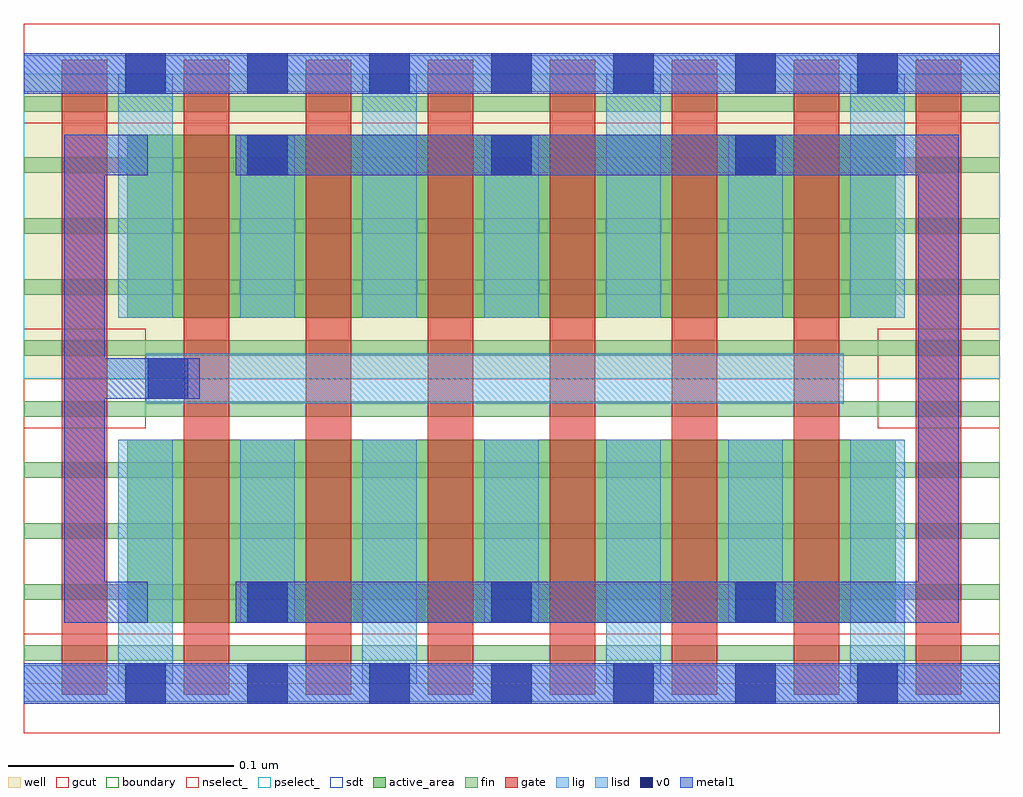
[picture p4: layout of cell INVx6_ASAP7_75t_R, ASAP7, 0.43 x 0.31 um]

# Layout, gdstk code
import gdstk
lib = gdstk.Library(unit=1e-6, precision=1e-09)
def R(c, l, rs):  # rectangles x0, y0, x1, y1
    for r in rs: c.add(gdstk.rectangle(r[:2], r[2:], *l))
def A(c, l, x, y, w, h, nx, ny, dx, dy):  # array of equal rectangles
    R(c, l, [(x+i*dx, y+j*dy, x+i*dx+w, y+j*dy+h) for i in range(nx) for j in range(ny)])
def P(c, l, *ps):  # polygons
    for p in ps: c.add(gdstk.Polygon(p, *l))
well = (1, 0)
fin = (2, 0)
gate = (7, 0)
gcut = (10, 0)
active_area = (11, 0)
nselect_ = (12, 0)
pselect_ = (13, 0)
lig = (16, 0)
lisd = (17, 0)
v0 = (18, 0)
metal1 = (19, 0)
sdt = (88, 0)
boundary = (100, 0)

invx6_asap7_75t_r = lib.new_cell('INVx6_ASAP7_75t_R')
R(invx6_asap7_75t_r, well, [(0,0.135,0.432,0.27)])
A(invx6_asap7_75t_r, fin, 0, 0.01, 0.432, 0.007, 1, 10, 0, 0.027)
A(invx6_asap7_75t_r, gate, 0.017, -0.005, 0.02, 0.281, 8, 1, 0.054, 0)
R(invx6_asap7_75t_r, gcut, [(0,-0.022,0.432,0.022), (0,0.113,0.054,0.157), (0.378,0.113,0.432,0.157), (0,0.248,0.432,0.292)])
R(invx6_asap7_75t_r, active_area, [(0.046,0.027,0.386,0.108), (0.046,0.162,0.386,0.243)])
R(invx6_asap7_75t_r, nselect_, [(0,0,0.432,0.135)])
R(invx6_asap7_75t_r, pselect_, [(0,0.135,0.432,0.27)])
R(invx6_asap7_75t_r, lig, [(0,-0.008,0.432,0.008), (0.054,0.124,0.363,0.146), (0,0.262,0.432,0.278)])
A(invx6_asap7_75t_r, lisd, 0.042, 0, 0.024, 0.108, 4, 2, 0.108, 0.162)
A(invx6_asap7_75t_r, lisd, 0.096, 0.027, 0.024, 0.081, 3, 2, 0.108, 0.135)
A(invx6_asap7_75t_r, v0, 0.045, -0.009, 0.018, 0.018, 7, 2, 0.054, 0.27)
A(invx6_asap7_75t_r, v0, 0.099, 0.027, 0.018, 0.018, 3, 2, 0.108, 0.198)
R(invx6_asap7_75t_r, v0, [(0.055,0.126,0.073,0.144)])
R(invx6_asap7_75t_r, metal1, [(0,-0.009,0.432,0.009), (0,0.261,0.432,0.279)])
P(invx6_asap7_75t_r, metal1, [(0.018,0.027),(0.018,0.243),(0.055,0.243),(0.055,0.225),(0.036,0.225),(0.036,0.144),(0.078,0.144),(0.078,0.126),(0.036,0.126),(0.036,0.045),(0.055,0.045),(0.055,0.027)],
  [(0.094,0.027),(0.094,0.045),(0.396,0.045),(0.396,0.225),(0.094,0.225),(0.094,0.243),(0.414,0.243),(0.414,0.027)])
A(invx6_asap7_75t_r, sdt, 0.042, 0.027, 0.024, 0.081, 7, 2, 0.054, 0.135)
R(invx6_asap7_75t_r, boundary, [(0,0,0.432,0.27)])

lib.write_gds('INVx6_ASAP7_75t_R.gds')
